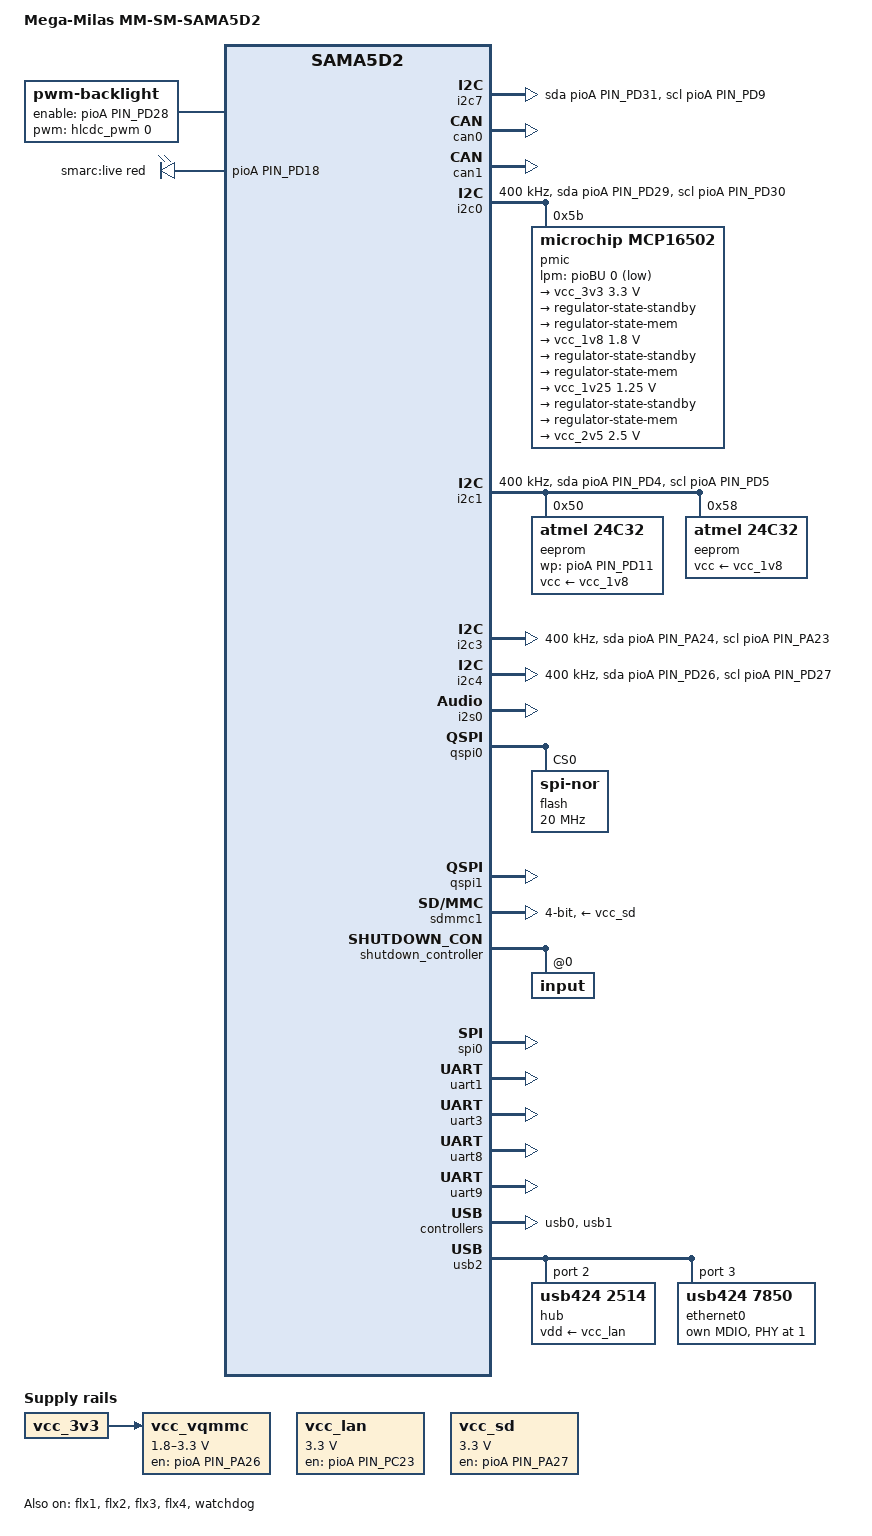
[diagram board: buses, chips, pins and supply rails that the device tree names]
/* SPDX-License-Identifier: GPL-2.0+ */
/* SPDX-FileCopyrightText: Alexander Shiyan <shc_work@mail.ru> */

#include <arm/microchip/sama5d2.dtsi>
#include <arm/microchip/sama5d2-pinfunc.h>
#include <dt-bindings/mfd/atmel-flexcom.h>
#include <dt-bindings/gpio/gpio.h>
#include <dt-bindings/leds/common.h>
#include <dt-bindings/net/microchip-lan78xx.h>

#include "sama5d2.dtsi"

/ {
	model = "Mega-Milas MM-SM-SAMA5D2";
	compatible = "milas,mm-sm-sama5d2",
		     "atmel,sama5d27", "atmel,sama5d2", "atmel,sama5";

	aliases {
		can0 = &can0;
		can1 = &can1;
		ethernet0 = &ethernet0;
		gpio1 = &pioBU;
		i2c0 = &i2c0;
		i2c1 = &i2c1;
		i2c3 = &i2c3;
		i2c4 = &i2c4;
		i2c7 = &i2c7;
		serial0 = &uart8;
		serial1 = &uart1;
		serial2 = &uart9;
		serial3 = &uart3;
		spi0 = &spi0;
		spi1 = &qspi1;
	};

	chosen {
		stdout-path = &uart1;

		environment-sd {
			compatible = "barebox,environment";
			device-path = &sdmmc1, "partname:0";
			file-path = "barebox.env";
			status = "disabled";
		};

		environment-qspi {
			compatible = "barebox,environment";
			device-path = &flash, "partname:env";
			status = "disabled";
		};
	};

	clocks {
		slow_xtal {
			clock-frequency = <32768>;
		};

		main_xtal {
			clock-frequency = <12000000>;
		};
	};

	backlight: backlight {
		compatible = "pwm-backlight";
		pinctrl-names = "default";
		pinctrl-0 = <&pinctrl_backlight>;
		pwms = <&hlcdc_pwm 0 5000000 0>;
		brightness-levels = <0 255>;
		num-interpolated-steps = <16>;
		default-brightness-level = <0>;
		enable-gpios = <&pioA PIN_PD28 GPIO_ACTIVE_HIGH>;
	};

	device-info {
		nvmem-cells = <&serial>;
		nvmem-cell-names = "serial";
	};

	i2c7: i2c7 {
		/* I2C_CAM1 */
		compatible = "i2c-gpio";
		pinctrl-names = "default";
		pinctrl-0 = <&pinctrl_i2c7>;
		sda-gpios = <&pioA PIN_PD31 (GPIO_ACTIVE_HIGH | GPIO_OPEN_DRAIN)>;
		scl-gpios = <&pioA PIN_PD9 (GPIO_ACTIVE_HIGH | GPIO_OPEN_DRAIN)>;
		#address-cells = <1>;
		#size-cells = <0>;
	};

	leds {
		compatible = "gpio-leds";
		pinctrl-names = "default";
		pinctrl-0 = <&pinctrl_leds>;

		led-live {
			label = "smarc:live";
			gpios = <&pioA PIN_PD18 GPIO_ACTIVE_HIGH>;
			function = LED_FUNCTION_HEARTBEAT;
			color = <LED_COLOR_ID_RED>;
			linux,default-trigger = LED_FUNCTION_HEARTBEAT;
			default-state = "off";
			panic-indicator;
		};
	};

	lvds_encoder: lvds-encoder {
		compatible = "lvds-encoder";
		power-supply = <&vcc_3v3>;
		status = "disabled";

		ports {
			#address-cells = <1>;
			#size-cells = <0>;

			port@0 {
				reg = <0>;

				lvds_in: endpoint {
					remote-endpoint = <&lcd_out>;
				};
			};
		};
	};

	sram@220000 {
		compatible = "mmio-sram";
		reg = <0x00220000 0x20000>;
		#address-cells = <1>;
		#size-cells = <1>;
		ranges = <0 0x00220000 0x20000>;
		export;
	};

	vcc_lan: vcc-lan-regulator {
		compatible = "regulator-fixed";
		pinctrl-names = "default";
		pinctrl-0 = <&pinctrl_reg_lan>;
		regulator-name = "vcc_lan";
		regulator-min-microvolt = <3300000>;
		regulator-max-microvolt = <3300000>;
		enable-active-high;
		gpio = <&pioA PIN_PC23 GPIO_ACTIVE_HIGH>;
	};

	vcc_sd: vcc-sd-regulator {
		compatible = "regulator-fixed";
		pinctrl-names = "default";
		pinctrl-0 = <&pinctrl_reg_sd>;
		regulator-name = "vcc_sd";
		regulator-min-microvolt = <3300000>;
		regulator-max-microvolt = <3300000>;
		enable-active-high;
		gpio = <&pioA PIN_PA27 GPIO_ACTIVE_HIGH>;
	};

	vcc_vqmmc: vcc-vqmmc-regulator {
		compatible = "regulator-gpio";
		pinctrl-names = "default";
		pinctrl-0 = <&pinctrl_reg_vqmmc>;
		regulator-name = "vcc_vqmmc";
		regulator-type = "voltage";
		enable-gpios = <&pioA PIN_PA26 GPIO_ACTIVE_HIGH>;
		enable-active-high;
		gpios = <&pioA PIN_PA25 GPIO_ACTIVE_HIGH>;
		states = <1800000 0x1>,
			 <3300000 0x0>;
		regulator-min-microvolt = <1800000>;
		regulator-max-microvolt = <3300000>;
		regulator-boot-on;
		vin-supply = <&vcc_3v3>;
	};
};

&can0 {
	pinctrl-names = "default";
	pinctrl-0 = <&pinctrl_can0>;
	status = "okay";
};

&can1 {
	pinctrl-names = "default";
	pinctrl-0 = <&pinctrl_can1>;
	status = "okay";
};

&flx1 {
	atmel,flexcom-mode = <ATMEL_FLEXCOM_MODE_TWI>;
	status = "okay";
};

&flx2 {
	atmel,flexcom-mode = <ATMEL_FLEXCOM_MODE_TWI>;
	status = "okay";
};

&flx3 {
	atmel,flexcom-mode = <ATMEL_FLEXCOM_MODE_USART>;
	status = "okay";
};

&flx4 {
	atmel,flexcom-mode = <ATMEL_FLEXCOM_MODE_USART>;
	status = "okay";
};

&hlcdc {
	hlcdc-display-controller {
		pinctrl-names = "default", "sleep";
		pinctrl-0 = <&pinctrl_hlcdc_default>;
		pinctrl-1 = <&pinctrl_hlcdc_sleep>;

		port@0 {
			lcd_out: endpoint {
				remote-endpoint = <&lvds_in>;
			};
		};
	};
};

&hlcdc_pwm {
	pinctrl-names = "default";
	pinctrl-0 = <&pinctrl_pwm>;
};

&hsmc {
	status = "disabled";
};

&i2c0 {
	/* I2C_PM */
	pinctrl-names = "default", "gpio", "sleep";
	pinctrl-0 = <&pinctrl_i2c0_default>;
	pinctrl-1 = <&pinctrl_i2c0_gpio>;
	pinctrl-2 = <&pinctrl_i2c0_gpio>;
	sda-gpios = <&pioA PIN_PD29 (GPIO_ACTIVE_HIGH | GPIO_OPEN_DRAIN)>;
	scl-gpios = <&pioA PIN_PD30 (GPIO_ACTIVE_HIGH | GPIO_OPEN_DRAIN)>;
	i2c-analog-filter;
	i2c-digital-filter;
	i2c-digital-filter-width-ns = <35>;
	clock-frequency = <400000>;
	status = "okay";

	pmic@5b {
		compatible = "microchip,mcp16502";
		reg = <0x5b>;
		lpm-gpios = <&pioBU 0 GPIO_ACTIVE_LOW>;

		regulators {
			vcc_3v3: VDD_IO {
				regulator-name = "vcc_3v3";
				regulator-min-microvolt = <3300000>;
				regulator-max-microvolt = <3300000>;
				regulator-initial-mode = <2>;
				regulator-allowed-modes = <2>, <4>;
				regulator-always-on;

				regulator-state-standby {
					regulator-on-in-suspend;
					regulator-suspend-microvolt = <3300000>;
					regulator-mode = <4>;
				};

				regulator-state-mem {
					regulator-off-in-suspend;
					regulator-mode = <4>;
				};
			};

			vcc_1v8: VDD_DDR {
				regulator-name = "vcc_1v8";
				regulator-min-microvolt = <1800000>;
				regulator-max-microvolt = <1800000>;
				regulator-initial-mode = <2>;
				regulator-allowed-modes = <2>, <4>;
				regulator-always-on;

				regulator-state-standby {
					regulator-on-in-suspend;
					regulator-suspend-microvolt = <1800000>;
					regulator-mode = <4>;
				};

				regulator-state-mem {
					regulator-on-in-suspend;
					regulator-suspend-microvolt = <1800000>;
					regulator-mode = <4>;
				};
			};

			VDD_CORE {
				regulator-name = "vcc_1v25";
				regulator-min-microvolt = <1250000>;
				regulator-max-microvolt = <1250000>;
				regulator-initial-mode = <2>;
				regulator-allowed-modes = <2>, <4>;
				regulator-always-on;

				regulator-state-standby {
					regulator-on-in-suspend;
					regulator-suspend-microvolt = <1250000>;
					regulator-mode = <4>;
				};

				regulator-state-mem {
					regulator-off-in-suspend;
					regulator-mode = <4>;
				};
			};

			LDO1 {
				regulator-name = "vcc_2v5";
				regulator-min-microvolt = <2500000>;
				regulator-max-microvolt = <2500000>;

				regulator-state-standby {
					regulator-off-in-suspend;
				};

				regulator-state-mem {
					regulator-off-in-suspend;
				};
			};
		};
	};
};

&i2c1 {
	/* I2C_GP */
	pinctrl-names = "default", "gpio", "sleep";
	pinctrl-0 = <&pinctrl_i2c1_default>;
	pinctrl-1 = <&pinctrl_i2c1_gpio>;
	pinctrl-2 = <&pinctrl_i2c1_gpio>;
	/* Disable DMA due garbage while read EEPROM */
	dmas = <0>, <0>;
	sda-gpios = <&pioA PIN_PD4 (GPIO_ACTIVE_HIGH | GPIO_OPEN_DRAIN)>;
	scl-gpios = <&pioA PIN_PD5 (GPIO_ACTIVE_HIGH | GPIO_OPEN_DRAIN)>;
	i2c-analog-filter;
	i2c-digital-filter;
	i2c-digital-filter-width-ns = <35>;
	clock-frequency = <400000>;
	status = "okay";

	eeprom@50 {
		pinctrl-names = "default";
		pinctrl-0 = <&pinctrl_eeprom>;
		compatible = "atmel,24c32";
		reg = <0x50>;
		pagesize = <32>;
		vcc-supply = <&vcc_1v8>;
		wp-gpios = <&pioA PIN_PD11 GPIO_ACTIVE_HIGH>;
	};

	eeprom@58 {
		compatible = "atmel,24c32";
		reg = <0x58>;
		vcc-supply = <&vcc_1v8>;
		read-only;
		#address-cells = <1>;
		#size-cells = <1>;

		serial: serial@800 {
			reg = <0x800 0x10>;
		};
	};
};

&i2c3 {
	/* I2C_LCD */
	pinctrl-names = "default", "gpio", "sleep";
	pinctrl-0 = <&pinctrl_i2c3_default>;
	pinctrl-1 = <&pinctrl_i2c3_gpio>;
	pinctrl-2 = <&pinctrl_i2c3_gpio>;
	sda-gpios = <&pioA PIN_PA24 (GPIO_ACTIVE_HIGH | GPIO_OPEN_DRAIN)>;
	scl-gpios = <&pioA PIN_PA23 (GPIO_ACTIVE_HIGH | GPIO_OPEN_DRAIN)>;
	i2c-analog-filter;
	i2c-digital-filter;
	i2c-digital-filter-width-ns = <35>;
	clock-frequency = <400000>;
	status = "okay";
};

&i2c4 {
	/* I2C_CAM0 */
	pinctrl-names = "default", "gpio", "sleep";
	pinctrl-0 = <&pinctrl_i2c4_default>;
	pinctrl-1 = <&pinctrl_i2c4_gpio>;
	pinctrl-2 = <&pinctrl_i2c4_gpio>;
	sda-gpios = <&pioA PIN_PD26 (GPIO_ACTIVE_HIGH | GPIO_OPEN_DRAIN)>;
	scl-gpios = <&pioA PIN_PD27 (GPIO_ACTIVE_HIGH | GPIO_OPEN_DRAIN)>;
	i2c-analog-filter;
	i2c-digital-filter;
	i2c-digital-filter-width-ns = <35>;
	clock-frequency = <400000>;
	status = "okay";
};

&i2s0 {
	pinctrl-names = "default";
	pinctrl-0 = <&pinctrl_i2s0>;
	clocks = <&pmc PMC_TYPE_PERIPHERAL 54>,
		 <&pmc PMC_TYPE_GCK 54>,
		 <&pmc PMC_TYPE_CORE PMC_I2S0_MUX>;
	clock-names = "pclk", "gclk", "muxclk";
	status = "okay";
	#sound-dai-cells = <0>;
};

&ns_sram {
	export;
};

&qspi0 {
	pinctrl-names = "default";
	pinctrl-0 = <&pinctrl_qspi0>;
	status = "okay";

	flash: flash@0 {
		compatible = "jedec,spi-nor";
		reg = <0>;
		spi-tx-bus-width = <4>;
		spi-rx-bus-width = <4>;
		spi-max-frequency = <20000000>;
	};
};

&qspi1 {
	/* QSPI */
	pinctrl-names = "default";
	pinctrl-0 = <&pinctrl_qspi1>;
	status = "okay";
};

&sdmmc1 {
	/* SDIO */
	pinctrl-names = "default";
	pinctrl-0 = <&pinctrl_sdmmc1>;
	bus-width = <4>;
	vmmc-supply = <&vcc_sd>;
	vqmmc-supply = <&vcc_vqmmc>;
};

&shutdown_controller {
	debounce-delay-us = <20000>;

	input@0 {
		reg = <0>;
	};
};

&spi0 {
	/* SPI0 */
	pinctrl-names = "default", "sleep";
	pinctrl-0 = <&pinctrl_spi0_default>;
	pinctrl-1 = <&pinctrl_spi0_sleep>;
	cs-gpios = <&pioA PIN_PA17 GPIO_ACTIVE_LOW>,
		   <&pioA PIN_PA13 GPIO_ACTIVE_LOW>;
	status = "okay";
};

&uart1 {
	/* SER1 */
	pinctrl-names = "default";
	pinctrl-0 = <&pinctrl_uart1>;
	status = "okay";
};

&uart3 {
	/* SER3 */
	pinctrl-names = "default";
	pinctrl-0 = <&pinctrl_uart3>;
	atmel,use-dma-rx;
	atmel,use-dma-tx;
	atmel,fifo-size = <32>;
	status = "okay";
};

&uart8 {
	/* SER0 */
	pinctrl-names = "default";
	pinctrl-0 = <&pinctrl_uart8>;
	atmel,use-dma-rx;
	atmel,use-dma-tx;
	status = "okay";
};

&uart9 {
	/* SER2 */
	pinctrl-names = "default";
	pinctrl-0 = <&pinctrl_uart9>;
	atmel,use-dma-rx;
	atmel,use-dma-tx;
	status = "okay";
};

&usb0 {
	pinctrl-names = "default";
	pinctrl-0 = <&pinctrl_usb0_vbus>;
	atmel,vbus-gpio = <&pioA PIN_PB10 GPIO_ACTIVE_HIGH>;
	status = "okay";
};

&usb1 {
	pinctrl-names = "default";
	pinctrl-0 = <&pinctrl_usb0_en &pinctrl_usb1_en>;
	atmel,vbus-gpio = <&pioA PIN_PB3 GPIO_ACTIVE_LOW>,
			  <&pioA PIN_PC29 GPIO_ACTIVE_LOW>,
			  <0>;
	num-ports = <3>;
	status = "okay";
};

&usb2 {
	phy_type = "hsic";
	status = "okay";
	#address-cells = <1>;
	#size-cells = <0>;

	/* Enable VCC on port 3 later due errata */
	/* Since we cannot use port 3 for this, lets use port 2 as a workaround */
	hub@2 {
		compatible = "usb424,2514";
		reg = <2>;
		vdd-supply = <&vcc_lan>;
	};

	ethernet0: ethernet@3 {
		compatible = "usb424,7850";
		reg = <3>;

		mdio {
			#address-cells = <0x1>;
			#size-cells = <0x0>;

			ethernet-phy@1 {
				reg = <1>;
				microchip,led-modes = <
					LAN78XX_LINK_100_ACTIVITY
					LAN78XX_LINK_1000_ACTIVITY
					LAN78XX_LINK_ACTIVITY
				>;
			};
		};
	};
};

&watchdog {
	timeout-sec = <10>;
	status = "okay";
};

&pioA {
	pinctrl_backlight: backlight-grp {
		pinmux = <PIN_PD28__GPIO>;			/* S127 */
		bias-disable;
	};

	pinctrl_can0: can0-grp {
		pinmux = <PIN_PC10__CANTX0>,			/* P143 */
			 <PIN_PC11__CANRX0>;			/* P144 */
		bias-disable;
	};

	pinctrl_can1: can1-grp {
		pinmux = <PIN_PC26__CANTX1>,			/* P145 */
			 <PIN_PC27__CANRX1>;			/* P146 */
		bias-disable;
	};

	pinctrl_eeprom: eeprom-grp {
		pinmux = <PIN_PD11__GPIO>;
		bias-pull-up;
	};

	pinctrl_hlcdc_default: hlcdc-grp-default {
		bits18 {
			pinmux = <PIN_PB13__LCDDAT2>,
				 <PIN_PB14__LCDDAT3>,
				 <PIN_PB15__LCDDAT4>,
				 <PIN_PB16__LCDDAT5>,
				 <PIN_PB17__LCDDAT6>,
				 <PIN_PB18__LCDDAT7>,
				 <PIN_PB21__LCDDAT10>,
				 <PIN_PB22__LCDDAT11>,
				 <PIN_PB23__LCDDAT12>,
				 <PIN_PB24__LCDDAT13>,
				 <PIN_PB25__LCDDAT14>,
				 <PIN_PB26__LCDDAT15>,
				 <PIN_PB29__LCDDAT18>,
				 <PIN_PB30__LCDDAT19>,
				 <PIN_PB31__LCDDAT20>,
				 <PIN_PC0__LCDDAT21>,
				 <PIN_PC1__LCDDAT22>,
				 <PIN_PC2__LCDDAT23>,
				 <PIN_PC4__LCDDISP>,		/* S133 */
				 <PIN_PC5__LCDVSYNC>,
				 <PIN_PC6__LCDHSYNC>,
				 <PIN_PC7__LCDPCK>,
				 <PIN_PC8__LCDDEN>;
			bias-disable;
		};

		bits24 {
			pinmux = <PIN_PB11__LCDDAT0>,
				 <PIN_PB12__LCDDAT1>,
				 <PIN_PB19__LCDDAT8>,
				 <PIN_PB20__LCDDAT9>,
				 <PIN_PB27__LCDDAT16>,
				 <PIN_PB28__LCDDAT17>;
			bias-disable;
		};
	};

	pinctrl_hlcdc_sleep: hlcdc-grp-sleep {
		pinmux = <PIN_PB11__GPIO>,
			 <PIN_PB12__GPIO>,
			 <PIN_PB13__GPIO>,
			 <PIN_PB14__GPIO>,
			 <PIN_PB15__GPIO>,
			 <PIN_PB16__GPIO>,
			 <PIN_PB17__GPIO>,
			 <PIN_PB18__GPIO>,
			 <PIN_PB19__GPIO>,
			 <PIN_PB20__GPIO>,
			 <PIN_PB21__GPIO>,
			 <PIN_PB22__GPIO>,
			 <PIN_PB23__GPIO>,
			 <PIN_PB24__GPIO>,
			 <PIN_PB25__GPIO>,
			 <PIN_PB26__GPIO>,
			 <PIN_PB27__GPIO>,
			 <PIN_PB28__GPIO>,
			 <PIN_PB29__GPIO>,
			 <PIN_PB30__GPIO>,
			 <PIN_PB31__GPIO>,
			 <PIN_PC0__GPIO>,
			 <PIN_PC1__GPIO>,
			 <PIN_PC2__GPIO>,
			 <PIN_PC4__GPIO>,
			 <PIN_PC5__GPIO>,
			 <PIN_PC6__GPIO>,
			 <PIN_PC7__GPIO>,
			 <PIN_PC8__GPIO>;
		bias-disable;
	};

	pinctrl_i2c0_default: i2c0-grp-default {
		pinmux = <PIN_PD29__TWD0>,			/* P122 */
			 <PIN_PD30__TWCK0>;			/* P121 */
		bias-disable;
	};

	pinctrl_i2c0_gpio: i2c0-grp-gpio {
		pinmux = <PIN_PD29__GPIO>,
			 <PIN_PD30__GPIO>;
		bias-disable;
	};

	pinctrl_i2c1_default: i2c1-grp-default {
		pinmux = <PIN_PD4__TWD1>,			/* S49 */
			 <PIN_PD5__TWCK1>;			/* S48 */
		bias-disable;
	};

	pinctrl_i2c1_gpio: i2c1-grp-gpio {
		pinmux = <PIN_PD4__GPIO>,
			 <PIN_PD5__GPIO>;
		bias-disable;
	};

	pinctrl_i2c3_default: i2c3-grp-default {
		pinmux = <PIN_PA23__FLEXCOM1_IO1>,		/* S139 */
			 <PIN_PA24__FLEXCOM1_IO0>;		/* S140 */
		bias-disable;
	};

	pinctrl_i2c3_gpio: i2c3-grp-gpio {
		pinmux = <PIN_PA23__GPIO>,
			 <PIN_PA24__GPIO>;
		bias-disable;
	};

	pinctrl_i2c4_default: i2c4-grp-default {
		pinmux = <PIN_PD26__FLEXCOM2_IO0>,		/* S7 */
			 <PIN_PD27__FLEXCOM2_IO1>;		/* S5 */
		bias-disable;
	};

	pinctrl_i2c4_gpio: i2c4-grp-gpio {
		pinmux = <PIN_PD26__GPIO>,
			 <PIN_PD27__GPIO>;
		bias-disable;
	};

	pinctrl_i2c7: i2c7-grp {
		pinmux = <PIN_PD9__GPIO>,			/* S1 */
			 <PIN_PD31__GPIO>;			/* S2 */
		bias-disable;
	};

	pinctrl_i2s0: i2s0-grp {
		pinmux = <PIN_PD19__I2SC0_CK>,			/* S42 */
			 <PIN_PD20__I2SC0_MCK>,			/* S38 */
			 <PIN_PD21__I2SC0_WS>,			/* S39 */
			 <PIN_PD22__I2SC0_DI0>,			/* S41 */
			 <PIN_PD23__I2SC0_DO0>;			/* S40 */
		bias-disable;
	};

	pinctrl_leds: leds-grp {
		pinmux = <PIN_PD18__GPIO>;
		bias-disable;
	};

	pinctrl_pwm: pwm-grp {
		pinmux = <PIN_PC3__LCDPWM>;			/* S141 */
		bias-disable;
	};

	pinctrl_qspi0: qspi0-grp {
		pinmux = <PIN_PA0__QSPI0_SCK>,
			 <PIN_PA1__QSPI0_CS>,
			 <PIN_PA2__QSPI0_IO0>,
			 <PIN_PA3__QSPI0_IO1>,
			 <PIN_PA4__QSPI0_IO2>,
			 <PIN_PA5__QSPI0_IO3>;
		bias-disable;
	};

	pinctrl_qspi1: qspi1-grp {
		pinmux = <PIN_PA6__QSPI1_SCK>,			/* P56 */
			 <PIN_PA7__QSPI1_IO0>,			/* P58 */
			 <PIN_PA8__QSPI1_IO1>,			/* P57 */
			 <PIN_PA9__QSPI1_IO2>,			/* S56 */
			 <PIN_PA10__QSPI1_IO3>,			/* S57 */
			 <PIN_PA11__QSPI1_CS>;			/* P54 */
		bias-disable;
	};

	pinctrl_reg_lan: reg-lan-grp {
		pinmux = <PIN_PC23__GPIO>;
		bias-disable;
	};

	pinctrl_reg_sd: reg-sd-grp {
		pinmux = <PIN_PA27__GPIO>;			/* P37 */
		bias-pull-up;
	};

	pinctrl_reg_vqmmc: reg-vqmmc-grp {
		pinmux = <PIN_PA25__GPIO>,
			 <PIN_PA26__GPIO>;
		bias-disable;
	};

	pinctrl_sdmmc1: sdmmc1-grp {
		pinmux = <PIN_PA18__SDMMC1_DAT0>,		/* P39 */
			 <PIN_PA19__SDMMC1_DAT1>,		/* P40 */
			 <PIN_PA20__SDMMC1_DAT2>,		/* P41 */
			 <PIN_PA21__SDMMC1_DAT3>,		/* P42 */
			 <PIN_PA22__SDMMC1_CK>,			/* P36 */
			 <PIN_PA28__SDMMC1_CMD>,		/* P34 */
			 <PIN_PA29__SDMMC1_WP>,			/* P33 */
			 <PIN_PA30__SDMMC1_CD>;			/* P35 */
		bias-disable;
	};

	pinctrl_spi0_default: spi0-grp-default {
		ctl {
			pinmux = <PIN_PA14__SPI0_SPCK>,		/* P44 */
				 <PIN_PA15__SPI0_MOSI>,		/* P46 */
				 <PIN_PA16__SPI0_MISO>;		/* P45 */
			bias-disable;
		};

		cs {
			pinmux = <PIN_PA17__GPIO>,		/* P43 */
				 <PIN_PA13__GPIO>;		/* P31 */
			bias-pull-up;
		};
	};

	pinctrl_spi0_sleep: spi0-grp-sleep {
		pinmux = <PIN_PA14__GPIO>,
			 <PIN_PA15__GPIO>,
			 <PIN_PA16__GPIO>,
			 <PIN_PA17__GPIO>,
			 <PIN_PA13__GPIO>;
		bias-disable;
	};

	pinctrl_uart1: uart1-grp {
		pinmux = <PIN_PD2__URXD1>,			/* P135 */
			 <PIN_PD3__UTXD1>;			/* P134 */
		bias-disable;
	};

	pinctrl_uart3: uart3-grp {
		pinmux = <PIN_PC12__URXD3>,			/* P141 */
			 <PIN_PC13__UTXD3>;			/* P140 */
		bias-disable;
	};

	pinctrl_uart8: uart8-grp {
		pinmux = <PIN_PC19__FLEXCOM3_IO1>,		/* P130 */
			 <PIN_PC20__FLEXCOM3_IO0>,		/* P129 */
			 <PIN_PC21__FLEXCOM3_IO3>,		/* P132 */
			 <PIN_PC22__FLEXCOM3_IO4>;		/* P131 */
		bias-disable;
	};

	pinctrl_uart9: uart9-grp {
		pinmux = <PIN_PD12__FLEXCOM4_IO0>,		/* P136 */
			 <PIN_PD13__FLEXCOM4_IO1>,		/* P137 */
			 <PIN_PD15__FLEXCOM4_IO3>,		/* P139 */
			 <PIN_PD16__FLEXCOM4_IO4>;		/* P138 */
		bias-disable;
	};

	pinctrl_usb0_en: usb0-en-grp {
		pinmux = <PIN_PB3__GPIO>;			/* P62 */
		bias-disable;
	};

	pinctrl_usb0_vbus: usb0-vbus-grp {
		pinmux = <PIN_PB10__GPIO>;			/* P63 */
		bias-disable;
	};

	pinctrl_usb1_en: usb1-en-grp {
		pinmux = <PIN_PC29__GPIO>;			/* P67 */
		bias-disable;
	};
};
